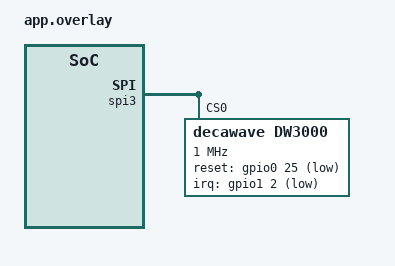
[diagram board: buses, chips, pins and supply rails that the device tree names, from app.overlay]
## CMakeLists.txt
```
#-------------------------------------------------------------------------------
# Zephyr Example Application
#
# Copyright (c) 2021 Nordic Semiconductor ASA
# SPDX-License-Identifier: Apache-2.0

cmake_minimum_required(VERSION 3.13.1)
find_package(Zephyr REQUIRED HINTS $ENV{ZEPHYR_BASE})

project(app LANGUAGES C VERSION 1.0.0)

# TODO: I should not have to set defines like this to say what should be specified in the devicetree
#nrf52840 dk i2c NEO-M8U
#target_compile_definitions(app PRIVATE U_CFG_APP_GNSS_I2C=0 U_CFG_TEST_GNSS_MODULE_TYPE=U_GNSS_MODULE_TYPE_M8)
#nrf5340dk spi ZED-F9R
#target_compile_definitions(app PRIVATE U_CFG_APP_GNSS_SPI=2 U_CFG_TEST_GNSS_MODULE_TYPE=U_GNSS_MODULE_TYPE_M9 U_GNSS_PRIVATE_DEBUG_PARSING U_CFG_APP_PIN_GNSS_SPI_SELECT=32+14)
target_compile_definitions(app PRIVATE U_CFG_APP_GNSS_SPI=4 U_CFG_TEST_GNSS_MODULE_TYPE=U_GNSS_MODULE_TYPE_M9 U_GNSS_PRIVATE_DEBUG_PARSING)

configure_file(app_version.h.in ${CMAKE_BINARY_DIR}/app/include/app_version.h)
target_include_directories(app PRIVATE ${CMAKE_BINARY_DIR}/app/include src)

target_sources(app PRIVATE src/main.c)
```

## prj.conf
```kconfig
# Copyright (c) 2021 Nordic Semiconductor ASA
# SPDX-License-Identifier: Apache-2.0
#
# This file contains selected Kconfig options for the application.

CONFIG_SENSOR=y
CONFIG_BLINK=y

CONFIG_SPI=y
CONFIG_DW3000=y
```

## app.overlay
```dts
&spi3 {
    dwm3000@0 {
        compatible = "decawave,dw3000";
        label = "DW3000";
        spi-max-frequency = <1000000>;

        reset-gpios = <&gpio0 25 GPIO_ACTIVE_LOW>;
        irq-gpios = <&gpio1 2 GPIO_ACTIVE_LOW>;
        //wakeup-gpios = <&gpio0 8 GPIO_ACTIVE_HIGH>;
        //spi-pol-gpios = <&gpio0 0 GPIO_ACTIVE_LOW>;
        //spi-pha-gpios = <&gpio0 0 GPIO_ACTIVE_LOW>;
        reg = <0>;
        status = "okay";
    };
};
```

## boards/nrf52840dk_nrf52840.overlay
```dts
&pinctrl {
    i2c0_default: i2c0_default {
        group1 {
            psels =
            <NRF_PSEL(TWIM_SDA, 0, 4)>,
            <NRF_PSEL(TWIM_SCL, 0, 3)>;
        };
    };

    i2c0_sleep: i2c0_sleep {
        group1 {
            psels =
            <NRF_PSEL(TWIM_SDA, 0, 4)>,
            <NRF_PSEL(TWIM_SCL, 0, 3)>;
            low-power-enable;
        };
    };
};

&i2c0 {
    compatible = "nordic,nrf-twi";
    status = "okay";
    clock-frequency = <I2C_BITRATE_FAST>;
    pinctrl-0 = <&i2c0_default>;
    pinctrl-1 = <&i2c0_sleep>;
    pinctrl-names = "default", "sleep";
	ublox: ublox@0 {
		compatible = "ublox,ubxlib-shim";
		reg = <0>;
		bus-num = <0>;
		bus-type = <1>; // 0 is spi, 1 is i2c
		module-type = <0>; // 0 is M8, 1 is M9, 2 is M10
	};
};

//If I don't do this, I get build errors like
// $zephyrRoot/ubxlib/port/platform/zephyr/src/u_port_spi.c:260: undefined reference to `__device_dts_ord_108'
// I think because of stuff like this:
// of pDevice = DEVICE_DT_GET_OR_NULL(DT_NODELABEL(spi3));

// spi0 not required to be disabled? Maybe it comes disabled.
&spi1 {
    status = "disabled";
};
&spi2 {
    status = "disabled";
};
&spi3 {
    status = "disabled";
};
```

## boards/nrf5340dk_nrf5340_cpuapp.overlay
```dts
&pinctrl {
    spi4_default: spi4_default {
        group1 {
            psels =
                    <NRF_PSEL(SPIM_MOSI, 0, 20)>,
                    <NRF_PSEL(SPIM_MISO, 0, 31)>,
                    <NRF_PSEL(SPIM_SCK, 0, 19)>;
        };
    };

    spi4_sleep: spi4_sleep {
        group1 {
            psels =
                    <NRF_PSEL(SPIM_MOSI, 0, 20)>,
                    <NRF_PSEL(SPIM_MISO, 0, 31)>,
                    <NRF_PSEL(SPIM_SCK, 0, 19)>;
            low-power-enable;
        };
    };
};

// conflicts with spi4 pins
&uart0 {
	status = "disabled";
};

&spi4 {
    compatible = "nordic,nrf-spim";
    status = "okay";
    cs-gpios = <&gpio0 17 GPIO_ACTIVE_LOW>;
    pinctrl-0 = <&spi4_default>;
    pinctrl-1 = <&spi4_sleep>;
    pinctrl-names = "default", "sleep";
	ublox: ublox@0 {
		compatible = "ublox,ubxlib-shim";
		reg = <0>;
		bus-num = <4>;
		bus-type = <0>; // 0 is spi, 1 is i2c
		module-type = <1>; // 0 is M8, 1 is M9, 2 is M10
	};
};
```

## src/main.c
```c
/*
 * Copyright (c) 2021 Nordic Semiconductor ASA
 * SPDX-License-Identifier: Apache-2.0
 */

#include <zephyr/kernel.h>
#include <zephyr/drivers/sensor.h>
#include <zephyr/logging/log.h>

#include <dw3000.h>

#include <app_version.h>

LOG_MODULE_REGISTER(main, CONFIG_APP_LOG_LEVEL);

int main(void)
{
    int err;
    printk("Zephyr Example Application %s\n", APP_VERSION_STRING);

    dw3000_hw_init();
    dw3000_hw_reset();
    dw3000_hw_init_interrupt();
    dw3000_spi_speed_fast();
    k_msleep(2);


    // cast to disgard const
    if((err = dwt_probe((struct dwt_probe_s *)&dw3000_probe_interf)) != DWT_SUCCESS) {
        LOG_ERR("failed to dwt_probe: %d", err);
        return 1;
    }

    uint32_t dev_id = dwt_readdevid();
    LOG_INF("dev id: 0x%04X", dev_id);

    /* Reads and validate device ID returns DWT_ERROR if it does not match expected else DWT_SUCCESS */
    if ((err = dwt_check_dev_id()) != DWT_SUCCESS) {
        LOG_ERR("DEV ID FAILED %d", err);
        return 1;
    }
    LOG_INF("DEV ID OK");

    // this causes
    // .../zephyr-dw3000-decadriver/platform/deca_compat.c:2571: undefined reference to `ull_getframelength'
    uint8_t foo = 5;
    dwt_getframelength(&foo);

    return 0;
}
```
